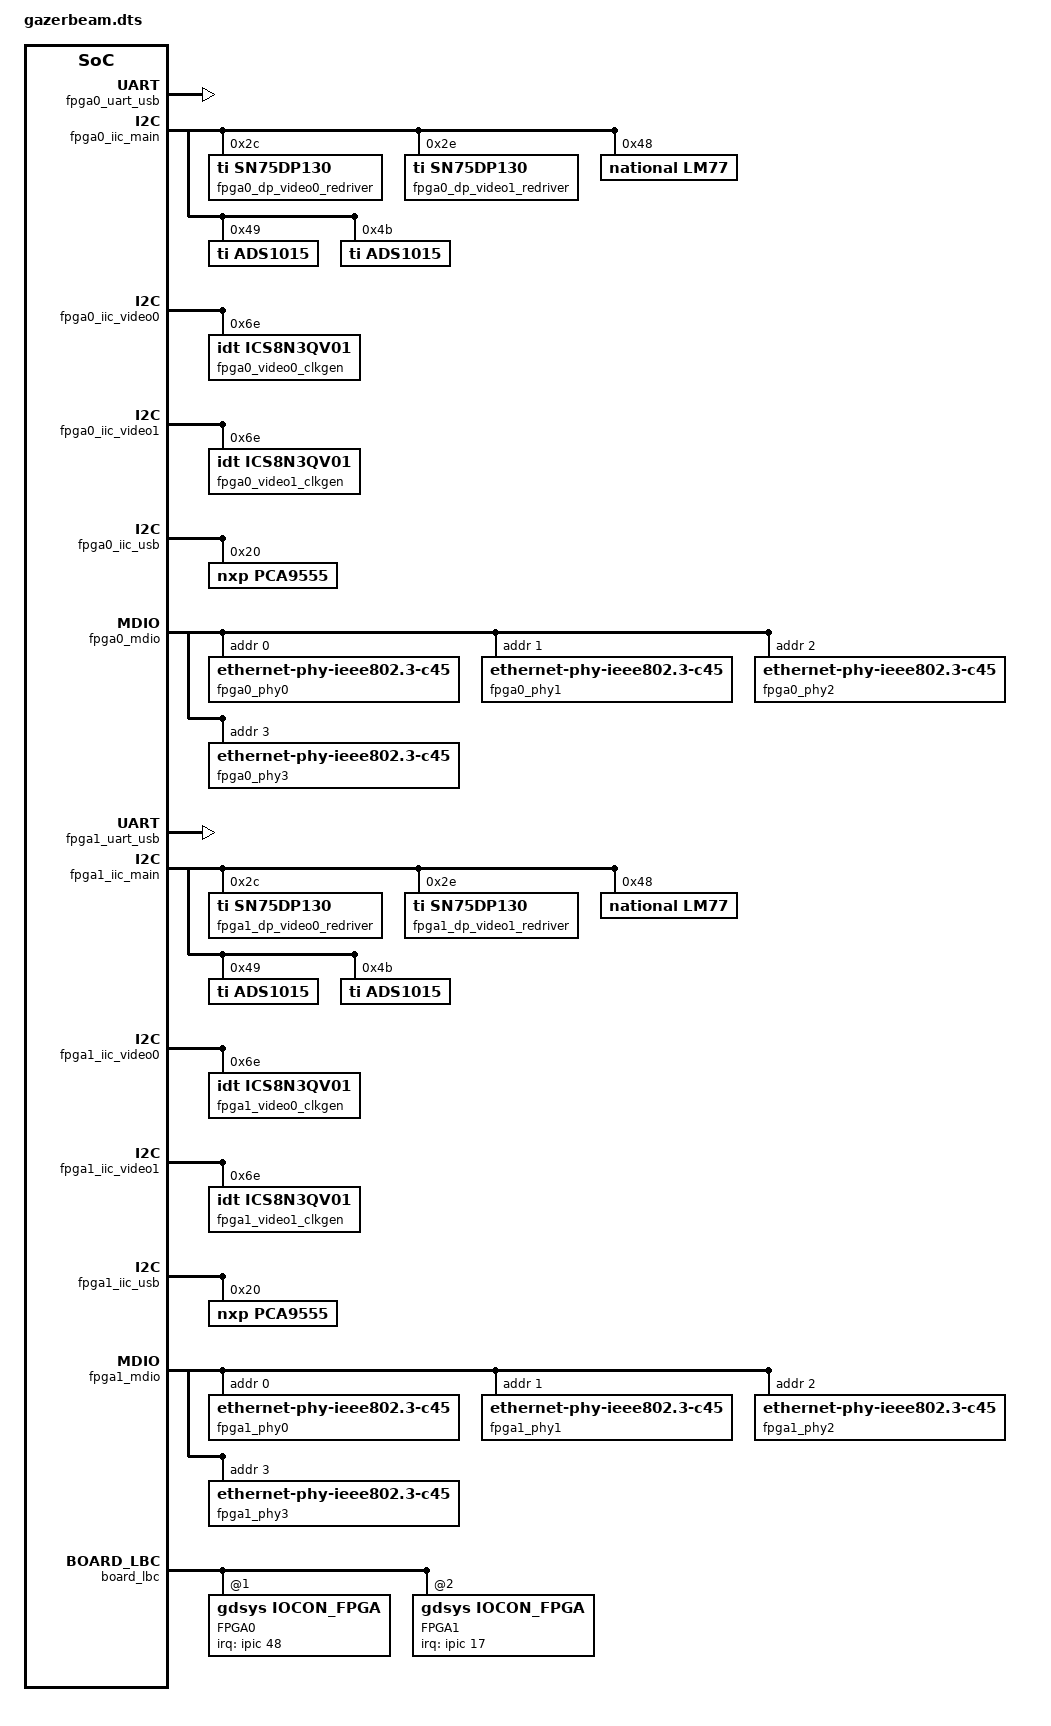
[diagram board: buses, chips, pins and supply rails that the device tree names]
/*
 * Gazerbeam CON Device Tree Source
 *
 * (C) Copyright 2015
 * Dirk Eibach, Guntermann & Drunck GmbH, eibach@gdsys.de
 *
 * This program is free software; you can redistribute  it and/or modify it
 * under  the terms of  the GNU General  Public License as published by the
 * Free Software Foundation;  either version 2 of the  License, or (at your
 * option) any later version.
 */

#include "gdsys/mpc8308.dtsi"

/include/ "gdsys/gazerbeam-base.dtsi"

/include/ "gdsys/soc/i2c/cirrus-audio-codec.dtsi"
/include/ "gdsys/soc/i2c/dallas-rtc.dtsi"
/include/ "gdsys/soc/lbc/gazerbeam.dtsi"
/include/ "gdsys/soc/nor/flash-80k-partition.dtsi"

&board_lbc {
	FPGA0:iocon_uart@1,0 {
		reg = <0x1 0x0 0x100000>;
		little-endian;
		interrupts = <48 0x8>;
		interrupt-parent = <&ipic>;
	};

	FPGA1:iocon_uart@2,0 {
		reg = <0x2 0x0 0x100000>;
		little-endian;
		interrupts = <17 0x8>;
		interrupt-parent = <&ipic>;
	};
};

&FPGA0 {
	compatible = "gdsys,iocon_fpga";
	#gpio-cells = <2>;
	gpio-controller;
	bus = <&FPGA0BUS>;
	unit_id = <0>;
	fpga-type = <1>;
	usb_base = <0x0080>;
	audio_base = <0x0040>;
	timebase_base = <0x013c>;

	/*
	 * for every interrupt source there must be a dataset specifying
	 * 1. type (1: standard)
	 * 2. status register offset
	 * 3. mask register offset
	 * 4. default mask
	 */
	fpga_interrupt_sources =
		<1 0x000a 0x000c 0x4000>, /* 0: TOP_INTERRUPT */
		<1 0x001c 0x001e 0x0000>; /* 1: EXTENDED_INTERRUPT */
	/*
	 * for every interrupt there must be a dataset specifying
	 * 1. type (1: status, 2: event)
	 * 2. interrupt source index
	 * 3. interrupt register bit
	 * 4. mask register bit
	 */
	 #fpga_interrupt_map-cells = <4>;
	fpga_interrupt_map =
		<1 0 14 14>, /*  0: EXTENDED_INTERRUPT */
		<1 0  0  0>, /*  1: VIDEO 0 */
		<1 0  1  1>, /*  2: VIDEO 1 */
		<1 0  2  2>, /*  3: VIDEO IC 0 */
		<1 0  3  3>, /*  4: VIDEO IC 1 */
		<1 0  4  4>, /*  5: IIC MAIN */
		<1 0  6  6>, /*  6: IIC VIDEO 0 */
		<1 0  7  7>, /*  7: IIC VIDEO 1 */
		<1 1  0  0>, /*  8: OSD 0 */
		<1 1  1  1>, /*  9: OSD 1 */
		<1 1  2  2>, /* 10: SPDIF 0 */
		<1 1  3  3>, /* 11: SPDIF 1 */
		<1 0 12 12>, /* 12: COMM 0 */
		<1 0 13 13>, /* 13: COMM 1 */
		<1 0 10 10>, /* 14: COMM 2 */
		<1 0 11 11>, /* 15: COMM 3 */
		<2 0  5  5>, /* 16: MDIO */
		<1 0  8  8>, /* 17: PHY */
		<1 1  4  4>, /* 18: RS232 */
		<1 1  5  5>, /* 19: AUDIO */
		<1 1  8  8>, /* 20: PROC_AUDIO */
		<1 1  7  7>, /* 21: USB/ETH-UART INT */
		<2 1 10 10>, /* 22: AXI Bridge 0 */
		<2 1 11 11>, /* 23: AXI Bridge 1 */
		<2 1  9  9>, /* 24: USB/ETH-Secondary IIC */
		<>;
};

&FPGA1 {
	compatible = "gdsys,iocon_fpga";
	#gpio-cells = <2>;
	gpio-controller;
	bus = <&FPGA1BUS>;
	unit_id = <1>;
	fpga-type = <1>;
	usb_base = <0x0070>;
	audio_base = <0x0040>;
	timebase_base = <0x013c>;

	/*
	 * for every interrupt source there must be a dataset specifying
	 * 1. type (1: standard)
	 * 2. status register offset
	 * 3. mask register offset
	 * 4. default mask
	 */
	fpga_interrupt_sources =
		<1 0x000a 0x000c 0x4000>, /* 0: TOP_INTERRUPT */
		<1 0x001c 0x001e 0x0000>; /* 1: EXTENDED_INTERRUPT */
	/*
	 * for every interrupt there must be a dataset specifying
	 * 1. type (1: status, 2: event)
	 * 2. interrupt source index
	 * 3. interrupt register bit
	 * 4. mask register bit
	 */
	 #fpga_interrupt_map-cells = <4>;
	fpga_interrupt_map =
		<1 0 14 14>, /*  0: EXTENDED_INTERRUPT */
		<1 0  0  0>, /*  1: VIDEO 0 */
		<1 0  1  1>, /*  2: VIDEO 1 */
		<1 0  2  2>, /*  3: VIDEO IC 0 */
		<1 0  3  3>, /*  4: VIDEO IC 1 */
		<1 0  4  4>, /*  5: IIC MAIN */
		<1 0  6  6>, /*  6: IIC VIDEO 0 */
		<1 0  7  7>, /*  7: IIC VIDEO 1 */
		<1 1  0  0>, /*  8: OSD 0 */
		<1 1  1  1>, /*  9: OSD 1 */
		<1 1  2  2>, /* 10: SPDIF 0 */
		<1 1  3  3>, /* 11: SPDIF 1 */
		<1 0 12 12>, /* 12: COMM 0 */
		<1 0 13 13>, /* 13: COMM 1 */
		<1 0 10 10>, /* 14: COMM 2 */
		<1 0 11 11>, /* 15: COMM 3 */
		<2 0  5  5>, /* 16: MDIO */
		<1 0  8  8>, /* 17: PHY */
		<1 1  4  4>, /* 18: RS232 */
		<1 1  5  5>, /* 19: AUDIO */
		<1 1  8  8>, /* 20: PROC_AUDIO */
		<1 1  7  7>, /* 21: USB/ETH-UART INT */
		<2 1 10 10>, /* 22: AXI Bridge 0 */
		<2 1 11 11>, /* 23: AXI Bridge 1 */
		<2 1  9  9>, /* 24: USB/ETH-Secondary IIC */
		<>;
};

/ {
	FPGA0BUS: fpga0bus {
		#address-cells = <1>;
		#size-cells = <1>;
		ranges = <0 0 0x00002000>;

		compatible = "gdsys,soc";

		fpga0_rs232 {
			compatible = "gdsys,ihs_trans_rs232";
			reg = <0x50 0x08>;
			little-endian;
		};

		fpga0_uart_usb {
			compatible = "gdsys,ihs_simple_uart";
			reg = <0xa0 0x08>;
			little-endian;
			fpga_interrupts = <21>;
			line = <0>;
		};

		fpga0_iic_main {
			compatible = "gdsys,ihs_i2cmaster";
			reg = <0x60 0x10>;
			little-endian;
			fpga_interrupts = <5>;
			#address-cells = <1>;
			#size-cells = <0>;

			fpga0_dp_video0_redriver: fpga0_dp_video0_redriver {
				compatible = "ti,sn75dp130";
				reg = <0x2c>;
				eq-i2c-enable = <3 2 1 0
						 3 2 1 0
						 3 2 1 0
						 3 2 1 0>; /* 3.5 dB for all pe values for all lanes */
			};
			fpga0_dp_video1_redriver: fpga0_dp_video1_redriver {
				compatible = "ti,sn75dp130";
				reg = <0x2e>;
				eq-i2c-enable = <3 2 1 0
						 3 2 1 0
						 3 2 1 0
						 3 2 1 0>; /* 3.5 dB for all pe values for all lanes */
			};
			lm77@48 {
				compatible = "national,lm77";
				reg = <0x48>;
			};
			ads1015@49 {
				compatible = "ti,ads1015";
				reg = <0x49>;
			};
			ads1015@4b {
				compatible = "ti,ads1015";
				reg = <0x4b>;
			};
		};

		fpga0_video0 {
			compatible = "gdsys,ihs_video_out";
			reg = <0x100 0x40>;
			little-endian;
			fpga_interrupts = <1 8>; /* VIDEO OSD */
			osd_base = <0x180>;
			osd_buffer_base = <0x1000>;
			spdif_audio_base = <0x1e0>;
			video_index = <0>;
			video_id = <0>;
			fpga-force-pos-pol;
			sync-source;
			fpga-pb-pixels = <2730>; /* 8192 / 3 */
			fpga-ra-lines = <2>;
			video_tx = <&fpga0_dp_video0>;
			clk_gen = <&fpga0_video0_clkgen>;
			ddc_ci = <&fpga0_dp_video0>;
		};

		fpga0_iic_video0  {
			compatible = "gdsys,ihs_i2cmaster";
			reg = <0x1c0 0x10>;
			little-endian;
			fpga_interrupts = <6>;
			#address-cells = <1>;
			#size-cells = <0>;

			fpga0_video0_clkgen: fpga0_video0_clkgen {
				compatible = "idt,ics8n3qv01";
				reg = <0x6e>;
				channel = <0>;
			};
		};

		fpga0_axi_video0 {
			#address-cells = <1>;
			#size-cells = <1>;
			compatible = "gdsys,ihs_axi";
			reg = <0x170 0x10>;
			little-endian;
			fpga_interrupts = <22>;

			fpga0_dp_video0: fpga0_dp_video0 {
				compatible = "gdsys,logicore_dp_tx";
				reg = <0x44a10000 0x1000>;
				little-endian;
				redriver = <&fpga0_dp_video0_redriver>;
				video_id = <0>;
			};
		};

		fpga0_video1 {
			compatible = "gdsys,ihs_video_out";
			reg = <0x200 0x40>;
			little-endian;
			fpga_interrupts = <2 9>; /* VIDEO OSD */
			osd_base = <0x280>;
			osd_buffer_base = <0x2000>;
			spdif_audio_base = <0x2e0>;
			video_index = <1>;
			video_id = <1>;
			fpga-force-pos-pol;
			sync-source;
			fpga-pb-pixels = <2730>; /* 8192 / 3 */
			fpga-ra-lines = <2>;
			video_tx = <&fpga0_dp_video1>;
			clk_gen = <&fpga0_video1_clkgen>;
			ddc_ci = <&fpga0_dp_video1>;
		};

		fpga0_iic_video1  {
			compatible = "gdsys,ihs_i2cmaster";
			reg = <0x2c0 0x10>;
			little-endian;
			fpga_interrupts = <7>;
			#address-cells = <1>;
			#size-cells = <0>;

			fpga0_video1_clkgen: fpga0_video1_clkgen {
				compatible = "idt,ics8n3qv01";
				reg = <0x6e>;
				channel = <1>;
			};
		};

		fpga0_axi_video1 {
			#address-cells = <1>;
			#size-cells = <1>;
			compatible = "gdsys,ihs_axi";
			reg = <0x270 0x10>;
			little-endian;
			fpga_interrupts = <23>;

			fpga0_dp_video1: fpga0_dp_video1 {
				compatible = "gdsys,logicore_dp_tx";
				reg = <0x44a10000 0x1000>;
				little-endian;
				redriver = <&fpga0_dp_video1_redriver>;
				video_id = <1>;
			};
		};

		fpga0_iic_usb {
			compatible = "gdsys,ihs_i2cmaster";
			reg = <0xb0 0x10>;
			little-endian;
			fpga_interrupts = <24>;
			#address-cells = <1>;
			#size-cells = <0>;

			pca9555@20 {
				compatible = "nxp,pca9555";
				reg = <0x20>;
				#gpio-cells = <2>;
				gpio-controller;
			};
		};

		fpga0_ep0 {
			compatible = "gdsys,io-endpoint";
			reg = < 0x020 0x10
				0x320 0x10
				0x340 0x10
				0x360 0x10>;
			little-endian;
			irq-model-local;
			fpga_interrupts = <12 13 14 15>;
			pollcycle = <200>;
			nprot_channel = <16>;
			uart_line = <0>;
			ep_index = <0>;
			line_protocol = <1>;
		};

		fpga0_mdio {
			compatible = "gdsys,ihs_mdiomaster";
			reg = <0x0058 0x10>;
			little-endian;
			fpga_interrupts = <16>;
			#address-cells = <1>;
			#size-cells = <0>;

			fpga0_phy0 {
				compatible = "ethernet-phy-ieee802.3-c45";
				device_type ="ethernet-phy";
				reg = <0>;
			};
			fpga0_phy1 {
				compatible = "ethernet-phy-ieee802.3-c45";
				device_type ="ethernet-phy";
				reg = <1>;
			};
			fpga0_phy2 {
				compatible = "ethernet-phy-ieee802.3-c45";
				device_type ="ethernet-phy";
				reg = <2>;
			};
			fpga0_phy3 {
				compatible = "ethernet-phy-ieee802.3-c45";
				device_type ="ethernet-phy";
				reg = <3>;
			};
		};

	};


	FPGA1BUS: fpga1bus {
		#address-cells = <1>;
		#size-cells = <1>;
		ranges = <0 0 0x00002000>;

		compatible = "gdsys,soc";

		fpga1_uart_usb {
			compatible = "gdsys,ihs_simple_uart";
			reg = <0xa0 0x08>;
			little-endian;
			fpga_interrupts = <21>;
			line = <4>; /* TODO check and FIX */
		};

		fpga1_iic_main {
			compatible = "gdsys,ihs_i2cmaster";
			reg = <0x60 0x10>;
			little-endian;
			fpga_interrupts = <5>;
			#address-cells = <1>;
			#size-cells = <0>;

			fpga1_dp_video0_redriver: fpga1_dp_video0_redriver {
				compatible = "ti,sn75dp130";
				reg = <0x2c>;
				eq-i2c-enable = <3 2 1 0
						 3 2 1 0
						 3 2 1 0
						 3 2 1 0>; /* 3.5 dB for all pe values for all lanes */
			};
			fpga1_dp_video1_redriver: fpga1_dp_video1_redriver {
				compatible = "ti,sn75dp130";
				reg = <0x2e>;
				eq-i2c-enable = <3 2 1 0
						 3 2 1 0
						 3 2 1 0
						 3 2 1 0>; /* 3.5 dB for all pe values for all lanes */
			};
			lm77@48 {
				compatible = "national,lm77";
				reg = <0x48>;
			};
			ads1015@49 {
				compatible = "ti,ads1015";
				reg = <0x49>;
			};
			ads1015@4b {
				compatible = "ti,ads1015";
				reg = <0x4b>;
			};
		};

		fpga1_video0 {
			compatible = "gdsys,ihs_video_out";
			reg = <0x100 0x40>;
			little-endian;
			fpga_interrupts = <1 8>; /* VIDEO OSD */
			osd_base = <0x180>;
			osd_buffer_base = <0x1000>;
			spdif_audio_base = <0x1e0>;
			video_index = <0>;
			video_id = <4>;
			fpga-force-pos-pol;
			sync-source;
			fpga-pb-pixels = <2730>; /* 8192 / 3 */
			fpga-ra-lines = <2>;
			video_tx = <&fpga1_dp_video0>;
			clk_gen = <&fpga1_video0_clkgen>;
			ddc_ci = <&fpga1_dp_video0>;
		};

		fpga1_iic_video0  {
			compatible = "gdsys,ihs_i2cmaster";
			reg = <0x1c0 0x10>;
			little-endian;
			fpga_interrupts = <6>;
			#address-cells = <1>;
			#size-cells = <0>;

			fpga1_video0_clkgen: fpga1_video0_clkgen {
				compatible = "idt,ics8n3qv01";
				reg = <0x6e>;
				channel = <4>;
			};
		};

		fpga1_axi_video0 {
			#address-cells = <1>;
			#size-cells = <1>;
			compatible = "gdsys,ihs_axi";
			reg = <0x170 0x10>;
			little-endian;
			fpga_interrupts = <22>;

			fpga1_dp_video0: fpga1_dp_video0 {
				compatible = "gdsys,logicore_dp_tx";
				reg = <0x44a10000 0x1000>;
				little-endian;
				redriver = <&fpga1_dp_video0_redriver>;
				video_id = <4>;
			};
		};

		fpga1_video1 {
			compatible = "gdsys,ihs_video_out";
			reg = <0x200 0x40>;
			little-endian;
			fpga_interrupts = <2 9>; /* VIDEO OSD */
			osd_base = <0x280>;
			osd_buffer_base = <0x2000>;
			spdif_audio_base = <0x2e0>;
			video_index = <1>;
			video_id = <5>;
			fpga-force-pos-pol;
			sync-source;
			fpga-pb-pixels = <2730>; /* 8192 / 3 */
			fpga-ra-lines = <2>;
			video_tx = <&fpga1_dp_video1>;
			clk_gen = <&fpga1_video1_clkgen>;
			ddc_ci = <&fpga1_dp_video1>;
		};

		fpga1_iic_video1  {
			compatible = "gdsys,ihs_i2cmaster";
			reg = <0x2c0 0x10>;
			little-endian;
			fpga_interrupts = <7>;
			#address-cells = <1>;
			#size-cells = <0>;

			fpga1_video1_clkgen: fpga1_video1_clkgen {
				compatible = "idt,ics8n3qv01";
				reg = <0x6e>;
				channel = <5>;
			};
		};

		fpga1_axi_video1 {
			#address-cells = <1>;
			#size-cells = <1>;
			compatible = "gdsys,ihs_axi";
			reg = <0x270 0x10>;
			little-endian;
			fpga_interrupts = <23>;

			fpga1_dp_video1: fpga1_dp_video1 {
				compatible = "gdsys,logicore_dp_tx";
				reg = <0x44a10000 0x1000>;
				little-endian;
				redriver = <&fpga1_dp_video1_redriver>;
				video_id = <5>;
			};
		};

		fpga1_iic_usb {
			compatible = "gdsys,ihs_i2cmaster";
			reg = <0xb0 0x10>;
			little-endian;
			fpga_interrupts = <24>;
			#address-cells = <1>;
			#size-cells = <0>;

			pca9555@20 {
				compatible = "nxp,pca9555";
				reg = <0x20>;
				#gpio-cells = <2>;
				gpio-controller;
			};
		};

		fpga1_ep0 {
			compatible = "gdsys,io-endpoint";
			reg = < 0x020 0x10
				0x320 0x10
				0x340 0x10
				0x360 0x10>;
			little-endian;
			irq-model-local;
			fpga_interrupts = <12 13 14 15>;
			pollcycle = <200>;
			nprot_channel = <17>;
			uart_line = <1>;
			ep_index = <0>;
			line_protocol = <1>;
		};

		fpga1_mdio {
			compatible = "gdsys,ihs_mdiomaster";
			reg = <0x0058 0x10>;
			little-endian;
			fpga_interrupts = <16>;
			#address-cells = <1>;
			#size-cells = <0>;

			fpga1_phy0 {
				compatible = "ethernet-phy-ieee802.3-c45";
				device_type ="ethernet-phy";
				reg = <0>;
			};
			fpga1_phy1 {
				compatible = "ethernet-phy-ieee802.3-c45";
				device_type ="ethernet-phy";
				reg = <1>;
			};
			fpga1_phy2 {
				compatible = "ethernet-phy-ieee802.3-c45";
				device_type ="ethernet-phy";
				reg = <2>;
			};
			fpga1_phy3 {
				compatible = "ethernet-phy-ieee802.3-c45";
				device_type ="ethernet-phy";
				reg = <3>;
			};
		};

	};

};

#include "gdsys/gazerbeam-uboot.dtsi"
